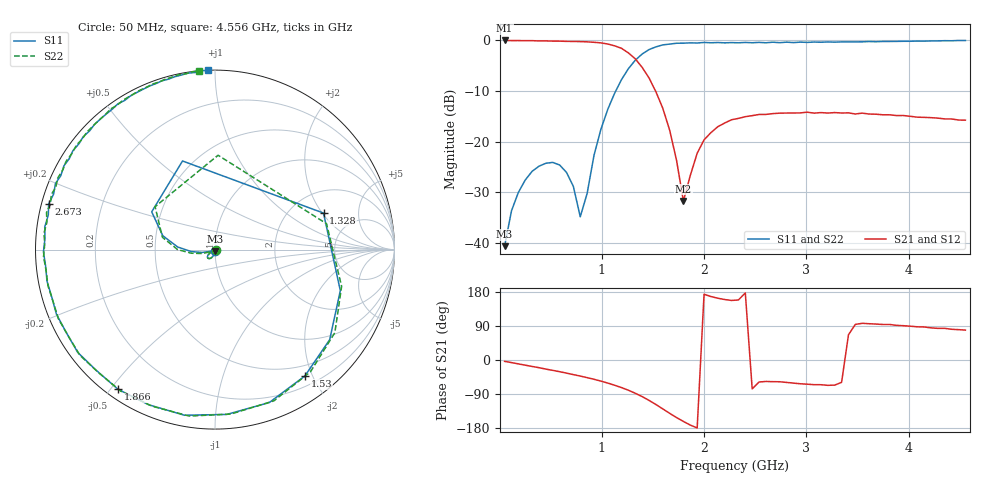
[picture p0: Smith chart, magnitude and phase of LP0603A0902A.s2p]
!	AVX THIN FILM OPERATION
!	LP0603 LOW PASS FILTERS
!	P/N LP0603A0902ALTR
!	Network	Analyzer	HP8720ES.07.64:	Feb	"23,"	2000	Serial	No.	US39172382
!	Hewlett-Packard
!	2	Feb	2004	02:33:11
!	Frequency	S11	S21	S12	S22
#	HZ	S	DB	R	50
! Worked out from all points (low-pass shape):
!   68 points, 50 MHz to 4.556 GHz, reference 50 ohm
!   highest |S21| = 0.00 dB at 50 MHz (marker M1); lowest = -31.8 dB at 1.798 GHz (marker M2)
!   |S21| within 3 dB of the highest: start of sweep to 1.292 GHz
!   lowest |S11| = -40.7 dB at 50 MHz (marker M3), VSWR 1.02, Z = 50 - j0.926 ohm
!   |S11| at or under -10 dB: start of sweep to 1.137 GHz
!   |S22| runs from -40.7 to 0.0 dB; largest |S21 - S12| = 0.037
!   S11 on the Smith chart (normalised r, x): 50 MHz: 1.00, -0.02; 1.328 GHz: 3.00, +2.06; 1.53 GHz: 0.34, -1.89; 1.866 GHz: 0.03, -0.52; 2.673 GHz: 0.02, +0.13; 4.556 GHz: 0.00, +0.96
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5e7  -40.66 -86.4  0.00 -3.6  0.00 -3.5  -40.66 -32.7
1.845e8  -30.05 -102.8  -0.02 -10.3  -0.02 -9.9  -30.05 -104.2
3.8625e8  -24.86 -119.5  -0.10 -20.3  -0.10 -20.4  -24.86 -120.5
6.5525e8  -26.08 -142.2  -0.18 -34.6  -0.18 -35.2  -26.08 -140.0
7.8975e8  -34.86 -153.9  -0.23 -42.5  -0.23 -42.2  -34.86 -150.1
8.57e8  -30.24 -160.6  -0.27 -46.5  -0.27 -46.7  -30.24 -156.0
9.915e8  -17.57 -175.2  -0.47 -55.8  -0.47 -55.9  -17.57 -171.2
1.19325e9  -7.73 149.2  -1.55 -72.8  -1.55 -72.4  -7.73 144.4
1.2605e9  -5.58 110.1  -2.46 -79.8  -2.46 -79.6  -5.58 88.1
1.32775e9  -3.90 18.6  -3.62 -87.7  -3.62 -87.6  -3.90 13.1
1.5295e9  -1.27 -54.6  -10.14 -117.4  -10.14 -116.6  -1.27 -52.0
1.59675e9  -0.87 -70.5  -13.40 -129.1  -13.40 -128.6  -0.87 -68.8
1.7985e9  -0.54 -113.2  -31.75 -162.1  -31.75 -162.9  -0.54 -111.9
1.86575e9  -0.47 -124.8  -26.68 -171.7  -26.68 -172.1  -0.47 -123.6
2.00025e9  -0.40 -143.2  -19.65 173.6  -19.65 171.4  -0.40 -141.9
2.3365e9  -0.46 -174.4  -15.41 158.5  -15.41 157.0  -0.46 -172.5
2.67275e9  -0.34 164.6  -14.46 -57.2  -14.46 -58.0  -0.34 167.6
3.07625e9  -0.31 145.1  -14.37 -65.1  -14.37 -59.5  -0.31 149.4
3.34525e9  -0.28 133.9  -14.34 -58.9  -14.34 -59.0  -0.28 137.7
3.4125e9  -0.28 131.3  -14.32 66.6  -14.32 77.7  -0.28 134.7
3.816e9  -0.20 116.5  -14.70 93.7  -14.70 92.8  -0.20 119.2
4.55575e9  -0.01 92.4  -15.75 78.9  -15.75 73.9  -0.01 95.2
